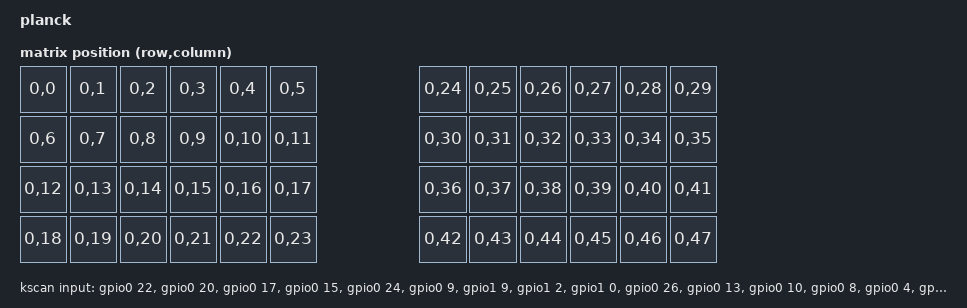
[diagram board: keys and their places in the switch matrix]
/*
 * SPDX-License-Identifier: MIT
 */

#include <nordic/nrf52840_qiaa.dtsi>
#include <dt-bindings/zmk/matrix_transform.h>
#include <zephyr/dt-bindings/pwm/pwm.h>
#include <physical_layouts.dtsi>
#include "leds.dtsi"
#include <common/nordic/nrf52840_uf2_boot_mode.dtsi>

/ {
    model = "planck";
    compatible = "yangxing,planck";

    chosen {
        zephyr,code-partition = &code_partition;
        zephyr,settings-partition = &storage_partition;
        zephyr,sram = &sram0;
        zephyr,flash = &flash0;
        zephyr,entropy = &rng;
        zmk,battery = &vbatt;
        zmk,kscan = &kscan;
        zmk,physical-layout = &matrix_physical_layout;
    };

    default_transform: keymap_transform_0 {
        compatible = "zmk,matrix-transform";
        columns = <48>;
        rows = <1>;
        map = <
            RC(0,0)  RC(0,1)  RC(0,2)  RC(0,3)  RC(0,4)  RC(0,5)   RC(0,24) RC(0,25) RC(0,26) RC(0,27) RC(0,28) RC(0,29)
            RC(0,6)  RC(0,7)  RC(0,8)  RC(0,9)  RC(0,10) RC(0,11)  RC(0,30) RC(0,31) RC(0,32) RC(0,33) RC(0,34) RC(0,35)
            RC(0,12) RC(0,13) RC(0,14) RC(0,15) RC(0,16) RC(0,17)  RC(0,36) RC(0,37) RC(0,38) RC(0,39) RC(0,40) RC(0,41)
            RC(0,18) RC(0,19) RC(0,20) RC(0,21) RC(0,22) RC(0,23)  RC(0,42) RC(0,43) RC(0,44) RC(0,45) RC(0,46) RC(0,47)
        >;
    };

    matrix_physical_layout: matrix_physical_layout {
        compatible = "zmk,physical-layout";
        display-name = "PLANCKEYS default";
        
        transform = <&default_transform>;
        keys  //                     w   h    x    y     rot    rx    ry
            = <&key_physical_attrs 100 100    0    0       0     0     0>
            , <&key_physical_attrs 100 100  100    0       0     0     0>
            , <&key_physical_attrs 100 100  200    0       0     0     0>
            , <&key_physical_attrs 100 100  300    0       0     0     0>
            , <&key_physical_attrs 100 100  400    0       0     0     0>
            , <&key_physical_attrs 100 100  500    0       0     0     0>
            , <&key_physical_attrs 100 100  800    0       0  1400     0>
            , <&key_physical_attrs 100 100  900    0       0  1400     0>
            , <&key_physical_attrs 100 100 1000    0       0  1400     0>
            , <&key_physical_attrs 100 100 1100    0       0  1400     0>
            , <&key_physical_attrs 100 100 1200    0       0  1400     0>
            , <&key_physical_attrs 100 100 1300    0       0  1400     0>
            , <&key_physical_attrs 100 100    0  100       0     0     0>
            , <&key_physical_attrs 100 100  100  100       0     0     0>
            , <&key_physical_attrs 100 100  200  100       0     0     0>
            , <&key_physical_attrs 100 100  300  100       0     0     0>
            , <&key_physical_attrs 100 100  400  100       0     0     0>
            , <&key_physical_attrs 100 100  500  100       0     0     0>
            , <&key_physical_attrs 100 100  800  100       0  1400     0>
            , <&key_physical_attrs 100 100  900  100       0  1400     0>
            , <&key_physical_attrs 100 100 1000  100       0  1400     0>
            , <&key_physical_attrs 100 100 1100  100       0  1400     0>
            , <&key_physical_attrs 100 100 1200  100       0  1400     0>
            , <&key_physical_attrs 100 100 1300  100       0  1400     0>
            , <&key_physical_attrs 100 100    0  200       0     0     0>
            , <&key_physical_attrs 100 100  100  200       0     0     0>
            , <&key_physical_attrs 100 100  200  200       0     0     0>
            , <&key_physical_attrs 100 100  300  200       0     0     0>
            , <&key_physical_attrs 100 100  400  200       0     0     0>
            , <&key_physical_attrs 100 100  500  200       0     0     0>
            , <&key_physical_attrs 100 100  800  200       0  1400     0>
            , <&key_physical_attrs 100 100  900  200       0  1400     0>
            , <&key_physical_attrs 100 100 1000  200       0  1400     0>
            , <&key_physical_attrs 100 100 1100  200       0  1400     0>
            , <&key_physical_attrs 100 100 1200  200       0  1400     0>
            , <&key_physical_attrs 100 100 1300  200       0  1400     0>
            , <&key_physical_attrs 100 100    0  300       0     0     0>
            , <&key_physical_attrs 100 100  100  300       0     0     0>
            , <&key_physical_attrs 100 100  200  300       0     0     0>
            , <&key_physical_attrs 100 100  300  300       0     0     0>
            , <&key_physical_attrs 100 100  400  300       0     0     0>
            , <&key_physical_attrs 100 100  500  300       0     0     0>
            , <&key_physical_attrs 100 100  800  300       0  1400     0>
            , <&key_physical_attrs 100 100  900  300       0  1400     0>
            , <&key_physical_attrs 100 100 1000  300       0  1400     0>
            , <&key_physical_attrs 100 100 1100  300       0  1400     0>
            , <&key_physical_attrs 100 100 1200  300       0  1400     0>
            , <&key_physical_attrs 100 100 1300  300       0  1400     0>
            ;
    };

    kscan: kscan {
        compatible = "zmk,kscan-gpio-direct";
        wakeup-source;
        input-gpios =
            <&gpio0 22 (GPIO_ACTIVE_LOW | GPIO_PULL_UP)>,  // 19
            <&gpio0 20 (GPIO_ACTIVE_LOW | GPIO_PULL_UP)>,  // 18
            <&gpio0 17 (GPIO_ACTIVE_LOW | GPIO_PULL_UP)>,  // 13
            <&gpio0 15 (GPIO_ACTIVE_LOW | GPIO_PULL_UP)>,  // 12
            <&gpio0 24 (GPIO_ACTIVE_LOW | GPIO_PULL_UP)>,  // 5
            <&gpio0  9 (GPIO_ACTIVE_LOW | GPIO_PULL_UP)>,  // 5
            <&gpio1  9 (GPIO_ACTIVE_LOW | GPIO_PULL_UP)>,  // 4
            <&gpio1  2 (GPIO_ACTIVE_LOW | GPIO_PULL_UP)>,  // ex1
            <&gpio1  0 (GPIO_ACTIVE_LOW | GPIO_PULL_UP)>,  // 20
            <&gpio0 26 (GPIO_ACTIVE_LOW | GPIO_PULL_UP)>,  // 17
            <&gpio0 13 (GPIO_ACTIVE_LOW | GPIO_PULL_UP)>,  // 14
            <&gpio0 10 (GPIO_ACTIVE_LOW | GPIO_PULL_UP)>,  // 14
            <&gpio0  8 (GPIO_ACTIVE_LOW | GPIO_PULL_UP)>,  // 11
            <&gpio0  4 (GPIO_ACTIVE_LOW | GPIO_PULL_UP)>,  // 6
            <&gpio0  5 (GPIO_ACTIVE_LOW | GPIO_PULL_UP)>,  // 3
            <&gpio0  2 (GPIO_ACTIVE_LOW | GPIO_PULL_UP)>,  // ex2
            <&gpio0 28 (GPIO_ACTIVE_LOW | GPIO_PULL_UP)>,  // 21
            <&gpio1 11 (GPIO_ACTIVE_LOW | GPIO_PULL_UP)>,  // 16
            <&gpio0  0 (GPIO_ACTIVE_LOW | GPIO_PULL_UP)>,  // 2
            <&gpio0 30 (GPIO_ACTIVE_LOW | GPIO_PULL_UP)>,  // 7
            <&gpio0  6 (GPIO_ACTIVE_LOW | GPIO_PULL_UP)>,  // 10
            <&gpio1 13 (GPIO_ACTIVE_LOW | GPIO_PULL_UP)>,  // 15
            <&gpio0  3 (GPIO_ACTIVE_LOW | GPIO_PULL_UP)>,  // 15
            <&gpio1 10 (GPIO_ACTIVE_LOW | GPIO_PULL_UP)>;  // 15
    };

    vbatt: vbatt {
        compatible = "zmk,battery-nrf-vddh";
    };
};

&reg0 {
    status = "okay";
};
&reg1 {
    regulator-initial-mode = <NRF5X_REG_MODE_DCDC>;
};

&adc {
    status = "okay";
};

&gpiote {
    status = "okay";
};

&gpio0 {
    status = "okay";
};

&gpio1 {
    status = "okay";
};

&flash0 {
    partitions {
        compatible = "fixed-partitions";
        #address-cells = <1>;
        #size-cells = <1>;

        sd_partition: partition@0 {
            reg = <0x00000000 0x00026000>;
        };
        code_partition: partition@26000 {
            reg = <0x00026000 0x000c6000>;
        };
        storage_partition: partition@ec000 {
            reg = <0x000ec000 0x00008000>;
        };
        boot_partition: partition@f4000 {
            reg = <0x000f4000 0x0000c000>;
        };
    };
};
